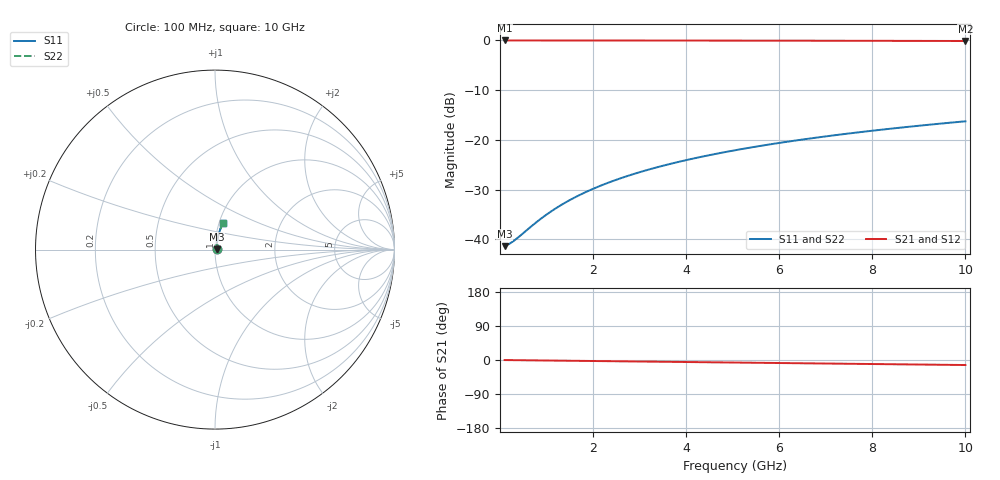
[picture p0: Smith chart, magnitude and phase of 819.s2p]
# Hz S RI R 50.00
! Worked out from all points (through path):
!   100 points, 100 MHz to 10 GHz, reference 50 ohm
!   highest |S21| = -0.07 dB at 100 MHz (marker M1); lowest = -0.2 dB at 10 GHz (marker M2)
!   group delay of S21, straight-line fit = 3.69 ps
!   lowest |S11| = -41.3 dB at 100 MHz (marker M3), VSWR 1.02, Z = 50.8 + j0.156 ohm
!   |S11| at or under -10 dB: start of sweep to end of sweep
!   |S22| runs from -41.3 to -16.3 dB; largest |S21 - S12| = 0
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1e8  0.00843 0.00153  0.9916 -0.0023  0.9916 -0.0023  0.00843 0.00153
2e8  0.00849 0.00306  0.9915 -0.00461  0.9915 -0.00461  0.00849 0.00306
3e8  0.00855 0.00459  0.9914 -0.00691  0.9914 -0.00691  0.00855 0.00459
8e8  0.00887 0.0122  0.9911 -0.0184  0.9911 -0.0184  0.00887 0.0122
9e8  0.00895 0.0138  0.991 -0.0207  0.991 -0.0207  0.00895 0.0138
1.1e9  0.00913 0.0168  0.9908 -0.0253  0.9908 -0.0253  0.00913 0.0168
1.4e9  0.00944 0.0214  0.9905 -0.0322  0.9905 -0.0322  0.00944 0.0214
1.6e9  0.00968 0.0244  0.9902 -0.0368  0.9902 -0.0368  0.00968 0.0244
1.8e9  0.00994 0.0275  0.9899 -0.0414  0.9899 -0.0414  0.00994 0.0275
2.1e9  0.0104 0.0321  0.9895 -0.0483  0.9895 -0.0483  0.0104 0.0321
2.5e9  0.0111 0.0381  0.9887 -0.0575  0.9887 -0.0575  0.0111 0.0381
2.9e9  0.0119 0.0442  0.9878 -0.0666  0.9878 -0.0666  0.0119 0.0442
3.4e9  0.013 0.0517  0.9866 -0.0781  0.9866 -0.0781  0.013 0.0517
3.8e9  0.0141 0.0577  0.9855 -0.0872  0.9855 -0.0872  0.0141 0.0577
4.2e9  0.0152 0.0637  0.9842 -0.0963  0.9842 -0.0963  0.0152 0.0637
4.6e9  0.0165 0.0697  0.9828 -0.1054  0.9828 -0.1054  0.0165 0.0697
5.1e9  0.0182 0.0771  0.9809 -0.1167  0.9809 -0.1167  0.0182 0.0771
5.9e9  0.0214 0.0889  0.9775 -0.1347  0.9775 -0.1347  0.0214 0.0889
6.7e9  0.0249 0.1005  0.9737 -0.1526  0.9737 -0.1526  0.0249 0.1005
7.5e9  0.0289 0.112  0.9693 -0.1703  0.9693 -0.1703  0.0289 0.112
8.4e9  0.0339 0.1247  0.9639 -0.19  0.9639 -0.19  0.0339 0.1247
1e10  0.044 0.1468  0.9529 -0.2246  0.9529 -0.2246  0.044 0.1468
